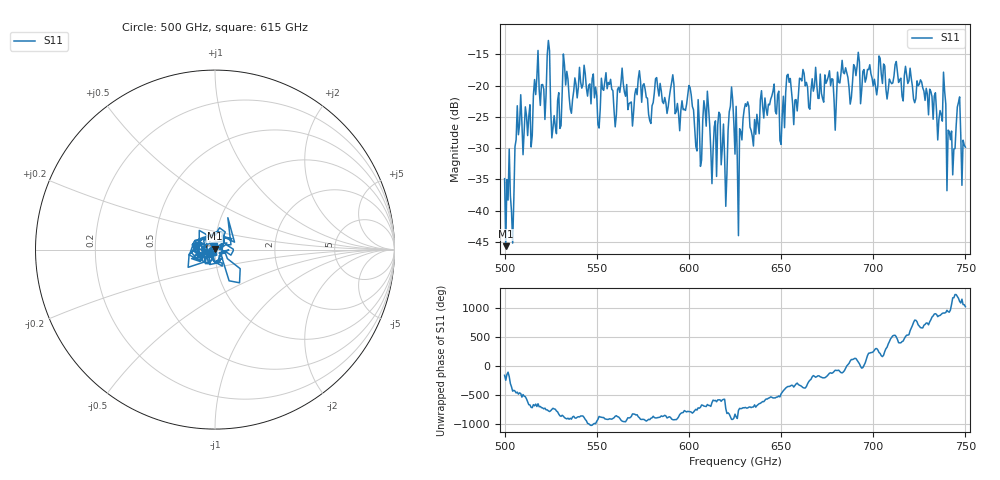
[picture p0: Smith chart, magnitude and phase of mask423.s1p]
!Created with skrf (http://scikit-rf.org).
# GHz S MA R 50.0
!freq magS11 angS11
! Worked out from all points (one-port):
!   401 points, 500 GHz to 750 GHz, reference 50 ohm
!   lowest |S11| = -45.7 dB at 500.6 GHz (marker M1), VSWR 1.01, Z = 49.8 + j0.476 ohm
!   |S11| at or under -10 dB: start of sweep to end of sweep
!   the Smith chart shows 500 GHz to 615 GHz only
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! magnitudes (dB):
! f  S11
! 500 GHz  -34.9
! 500.6 GHz  -45.7
! 504.4 GHz  -45.2
! 507.5 GHz  -27.9
! 513.8 GHz  -23.1
! 516.9 GHz  -21.4
! 523.8 GHz  -12.8
! 526.9 GHz  -24.8
! 531.2 GHz  -21.0
! 562.5 GHz  -21.1
! 579.4 GHz  -26.1
! 590.6 GHz  -19.5
! 593.8 GHz  -22.9
! 600.6 GHz  -20.3
! 605.6 GHz  -25.9
! 609.4 GHz  -26.5
! 619.4 GHz  -31.5
! 622.5 GHz  -23.3
! 625 GHz  -31.0
! 627.5 GHz  -26.9
! 631.2 GHz  -23.3
! 635 GHz  -29.7
! 656.2 GHz  -22.8
! 687.5 GHz  -23.0
! 691.2 GHz  -16.9
! 718.8 GHz  -19.7
! 746.2 GHz  -22.7
! 750 GHz  -29.8
